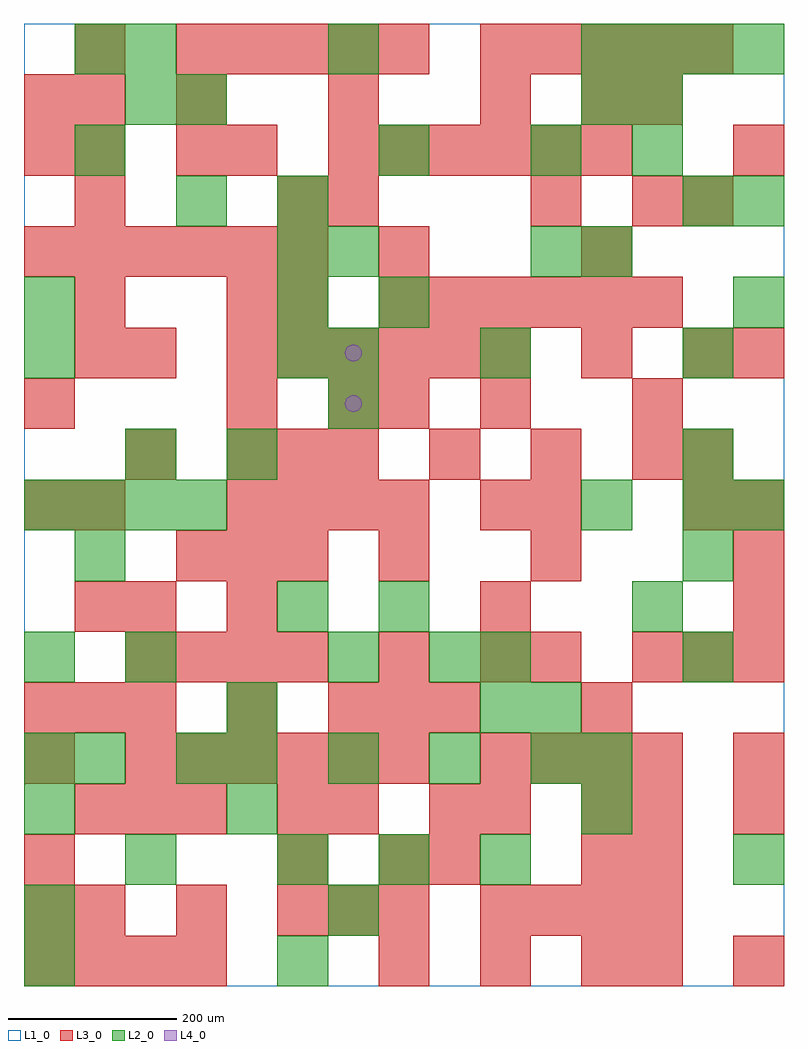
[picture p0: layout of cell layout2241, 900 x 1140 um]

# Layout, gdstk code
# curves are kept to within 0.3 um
import gdstk
lib = gdstk.Library(unit=1e-6, precision=1e-09)
def R(c, l, rs):  # rectangles x0, y0, x1, y1
    for r in rs: c.add(gdstk.rectangle(r[:2], r[2:], *l))
def A(c, l, x, y, w, h, nx, ny, dx, dy):  # array of equal rectangles
    R(c, l, [(x+i*dx, y+j*dy, x+i*dx+w, y+j*dy+h) for i in range(nx) for j in range(ny)])
def P(c, l, *ps):  # polygons
    for p in ps: c.add(gdstk.Polygon(p, *l))
L1_0 = (1, 0)
L2_0 = (2, 0)
L3_0 = (3, 0)
L4_0 = (4, 0)

layout2241 = lib.new_cell('layout2241')
R(layout2241, L1_0, [(0,0,900,1140)])
A(layout2241, L2_0, 360, 60, 60, 60, 1, 3, 0, 300)
A(layout2241, L2_0, 120, 120, 60, 60, 1, 3, 0, 240)
A(layout2241, L2_0, 300, 120, 60, 60, 3, 1, 120, 0)
A(layout2241, L2_0, 240, 240, 60, 60, 4, 1, 120, 0)
A(layout2241, L2_0, 660, 240, 60, 60, 1, 3, 0, 300)
A(layout2241, L2_0, 780, 480, 60, 60, 1, 3, 0, 60)
A(layout2241, L2_0, 0, 540, 60, 60, 4, 1, 60, 0)
A(layout2241, L2_0, 300, 720, 60, 60, 1, 4, 0, 60)
A(layout2241, L2_0, 660, 1080, 60, 60, 4, 1, 60, 0)
R(layout2241, L2_0, [(0,0,60,60), (300,0,360,60), (0,60,60,120), (840,120,900,180), (0,180,60,240), (240,180,300,240), (660,180,720,240), (0,240,60,300), (60,240,120,300), (180,240,240,300), (240,300,300,360), (540,300,600,360), (600,300,660,360), (0,360,60,420), (480,360,540,420), (540,360,600,420), (780,360,840,420), (300,420,360,480), (420,420,480,480), (720,420,780,480), (60,480,120,540), (840,540,900,600), (240,600,300,660), (0,720,60,780), (360,720,420,780), (540,720,600,780), (780,720,840,780), (0,780,60,840), (420,780,480,840), (840,780,900,840), (360,840,420,900), (600,840,660,900), (180,900,240,960), (780,900,840,960), (840,900,900,960), (60,960,120,1020), (420,960,480,1020), (600,960,660,1020), (720,960,780,1020), (120,1020,180,1080), (180,1020,240,1080), (660,1020,720,1080), (720,1020,780,1080), (60,1080,120,1140), (120,1080,180,1140), (360,1080,420,1140)])
A(layout2241, L3_0, 0, 0, 60, 60, 4, 1, 60, 0)
A(layout2241, L3_0, 420, 0, 60, 60, 3, 1, 120, 0)
A(layout2241, L3_0, 60, 60, 60, 60, 3, 1, 120, 0)
A(layout2241, L3_0, 540, 60, 60, 60, 4, 2, 60, 180)
A(layout2241, L3_0, 60, 180, 60, 60, 3, 1, 60, 0)
A(layout2241, L3_0, 540, 180, 60, 60, 1, 3, 0, 180)
A(layout2241, L3_0, 120, 240, 60, 60, 6, 1, 60, 0)
A(layout2241, L3_0, 0, 300, 60, 60, 3, 1, 60, 0)
A(layout2241, L3_0, 360, 300, 60, 60, 3, 1, 60, 0)
A(layout2241, L3_0, 120, 360, 60, 60, 4, 1, 60, 0)
A(layout2241, L3_0, 720, 360, 60, 60, 3, 1, 60, 0)
A(layout2241, L3_0, 240, 420, 60, 60, 3, 1, 300, 0)
A(layout2241, L3_0, 180, 480, 60, 60, 3, 1, 60, 0)
A(layout2241, L3_0, 420, 480, 60, 60, 1, 3, 0, 180)
A(layout2241, L3_0, 240, 540, 60, 60, 4, 1, 60, 0)
A(layout2241, L3_0, 240, 600, 60, 60, 3, 1, 60, 0)
A(layout2241, L3_0, 480, 600, 60, 60, 3, 1, 120, 0)
A(layout2241, L3_0, 240, 720, 60, 60, 6, 1, 60, 0)
A(layout2241, L3_0, 420, 780, 60, 60, 6, 1, 60, 0)
A(layout2241, L3_0, 0, 840, 60, 60, 6, 1, 60, 0)
A(layout2241, L3_0, 60, 900, 60, 60, 1, 4, 0, 60)
A(layout2241, L3_0, 360, 960, 60, 60, 6, 1, 60, 0)
A(layout2241, L3_0, 180, 1020, 60, 60, 3, 1, 180, 0)
A(layout2241, L3_0, 180, 1080, 60, 60, 5, 1, 60, 0)
A(layout2241, L3_0, 540, 1080, 60, 60, 5, 1, 60, 0)
R(layout2241, L3_0, [(720,0,780,60), (840,0,900,60), (0,60,60,120), (360,60,420,120), (420,60,480,120), (0,120,60,180), (300,120,360,180), (420,120,480,180), (480,120,540,180), (660,120,720,180), (720,120,780,180), (300,180,360,240), (360,180,420,240), (480,180,540,240), (660,180,720,240), (720,180,780,240), (840,180,900,240), (0,240,60,300), (840,240,900,300), (240,300,300,360), (660,300,720,360), (420,360,480,420), (600,360,660,420), (60,420,120,480), (120,420,180,480), (600,480,660,540), (840,480,900,540), (0,540,60,600), (60,540,120,600), (600,540,660,600), (780,540,840,600), (840,540,900,600), (120,600,180,660), (780,600,840,660), (0,660,60,720), (240,660,300,720), (360,660,420,720), (540,660,600,720), (720,660,780,720), (60,720,120,780), (120,720,180,780), (660,720,720,780), (780,720,840,780), (840,720,900,780), (60,780,120,840), (240,780,300,840), (300,780,360,840), (660,840,720,900), (300,900,360,960), (360,900,420,960), (600,900,660,960), (720,900,780,960), (780,900,840,960), (0,960,60,1020), (180,960,240,1020), (240,960,300,1020), (840,960,900,1020), (0,1020,60,1080), (660,1020,720,1080), (720,1020,780,1080)])
P(layout2241, L4_0, [(400,690),(399.239,693.827),(397.071,697.071),(393.827,699.239),(390,700),(386.173,699.239),(382.929,697.071),(380.761,693.827),(380,690),(380.761,686.173),(382.929,682.929),(386.173,680.761),(390,680),(393.827,680.761),(397.071,682.929),(399.239,686.173)],
  [(400,750),(399.239,753.827),(397.071,757.071),(393.827,759.239),(390,760),(386.173,759.239),(382.929,757.071),(380.761,753.827),(380,750),(380.761,746.173),(382.929,742.929),(386.173,740.761),(390,740),(393.827,740.761),(397.071,742.929),(399.239,746.173)])

lib.write_gds('layout2241.gds')
